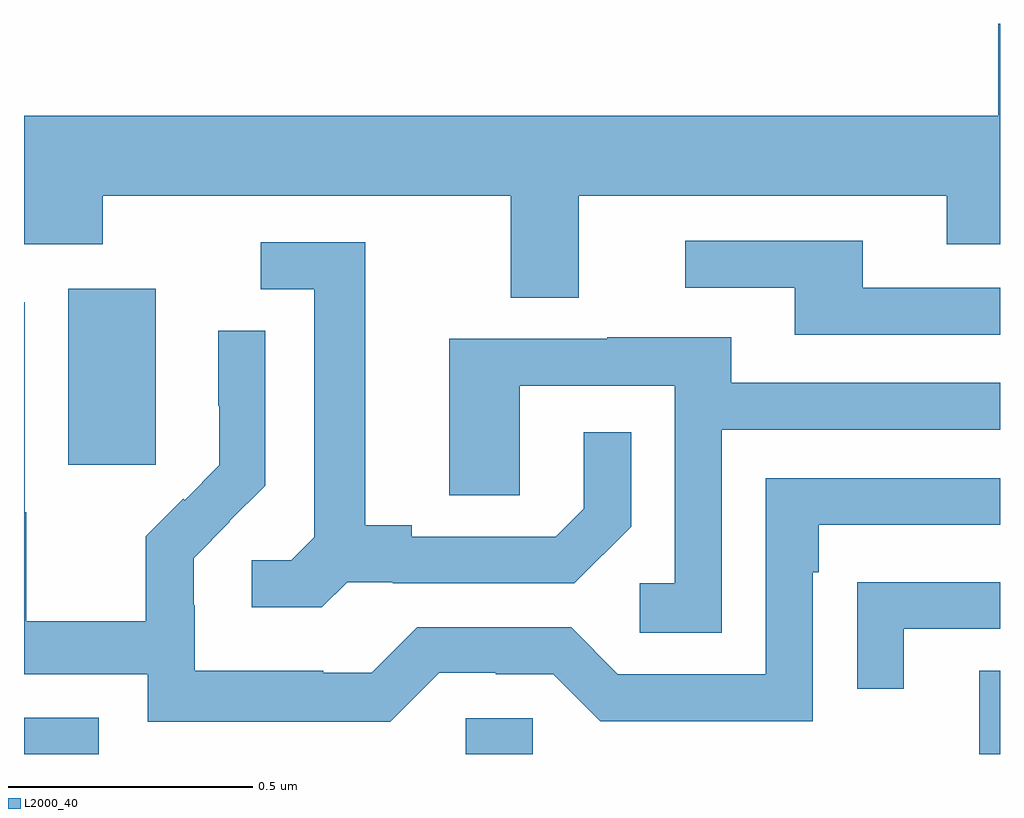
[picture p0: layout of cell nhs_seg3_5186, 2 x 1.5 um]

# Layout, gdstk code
import gdstk
lib = gdstk.Library(unit=1e-6, precision=1e-09)
def R(c, l, rs):  # rectangles x0, y0, x1, y1
    for r in rs: c.add(gdstk.rectangle(r[:2], r[2:], *l))
def P(c, l, *ps):  # polygons
    for p in ps: c.add(gdstk.Polygon(p, *l))
L2000_40 = (2000, 40)

nhs_seg3_5186 = lib.new_cell('nhs_seg3_5186')
R(nhs_seg3_5186, L2000_40, [(175.001,738.4,175.153,738.475), (175.905,738.4,176.043,738.474), (176.957,738.4,177,738.571), (175.091,738.993,175.27,739.354)])
P(nhs_seg3_5186, L2000_40, [(176.137,739.544),(176.891,739.544),(176.891,739.445),(177,739.445),(177,739.897),(176.996,739.897),(176.996,739.708),(175,739.708),(175,739.544),(175.001,739.544),(175.001,739.445),(175.161,739.445),(175.161,739.544),(175.997,739.544),(175.997,739.336),(176.137,739.336)],
  [(177,739.356),(176.719,739.356),(176.719,739.452),(176.355,739.452),(176.355,739.356),(176.579,739.356),(176.579,739.26),(177,739.26)],
  [(175.662,738.753),(175.756,738.753),(175.756,738.75),(176.128,738.75),(176.244,738.866),(176.244,739.06),(176.147,739.06),(176.147,738.903),(176.09,738.846),(175.795,738.846),(175.795,738.869),(175.699,738.869),(175.699,739.449),(175.485,739.449),(175.485,739.353),(175.595,739.353),(175.595,738.845),(175.548,738.798),(175.467,738.798),(175.467,738.701),(175.61,738.701)],
  [(175.851,738.567),(175.967,738.567),(175.967,738.564),(176.085,738.564),(176.181,738.468),(176.616,738.468),(176.616,738.773),(176.629,738.773),(176.629,738.87),(177,738.87),(177,738.966),(176.52,738.966),(176.52,738.564),(176.217,738.564),(176.121,738.66),(175.806,738.66),(175.713,738.567),(175.613,738.567),(175.613,738.571),(175.35,738.571),(175.35,738.705),(175.348,738.705),(175.348,738.802),(175.422,738.876),(175.421,738.877),(175.494,738.95),(175.494,739.268),(175.398,739.268),(175.398,739.114),(175.4,739.114),(175.4,738.992),(175.329,738.921),(175.326,738.924),(175.249,738.847),(175.249,738.673),(175.005,738.673),(175.005,738.896),(175.002,738.896),(175.002,739.326),(175,739.326),(175,738.564),(175.254,738.564),(175.254,738.467),(175.751,738.467)],
  [(176.43,739.065),(177,739.065),(177,739.161),(176.449,739.161),(176.449,739.255),(176.195,739.255),(176.195,739.251),(175.871,739.251),(175.871,738.931),(176.016,738.931),(176.016,739.155),(176.334,739.155),(176.334,738.75),(176.262,738.75),(176.262,738.649),(176.43,738.649)],
  [(176.803,738.657),(177,738.657),(177,738.753),(176.809,738.753),(176.809,738.752),(176.707,738.752),(176.707,738.534),(176.803,738.534)])

lib.write_gds('nhs_seg3_5186.gds')
